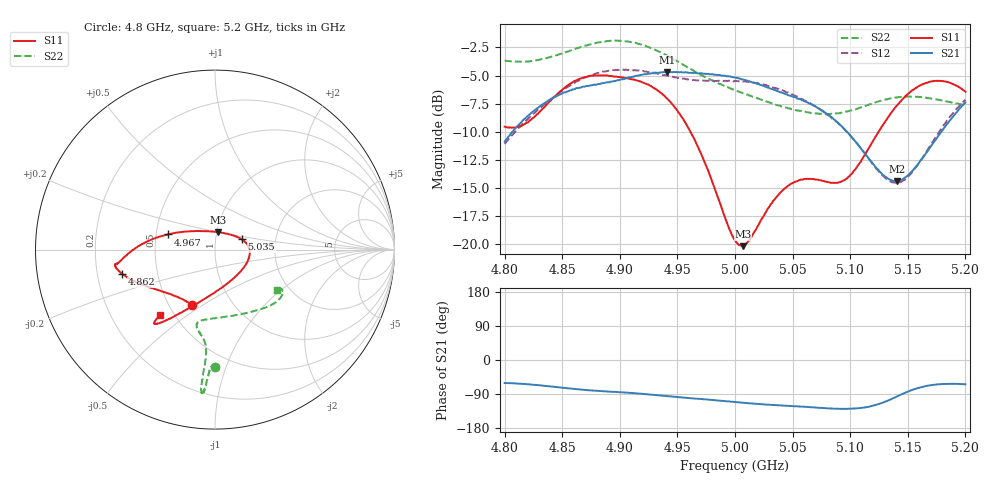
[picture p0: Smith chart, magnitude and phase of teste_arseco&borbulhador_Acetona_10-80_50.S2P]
! Network Analyzer HP8722D
! Hewlett-Packard
! Data name: Linha & Wilkinson
! Saver's name: Rodrigo Anjos
! Comments: Teste da utilização de aquisição
! continua pelo VNA HP8722D
! Time and date: 17/4/2025 14:46
!  Frequency  S11  S21  S12  S22
# HZ  S  MA R 50
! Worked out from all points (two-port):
!   401 points, 4.8 GHz to 5.2 GHz, reference 50 ohm
!   highest |S21| = -4.67 dB at 4.941 GHz (marker M1); lowest = -14.4 dB at 5.141 GHz (marker M2)
!   |S21| within 3 dB of the highest: 4.832 GHz to 5.068 GHz (236.7 MHz wide, 4.78 % of centre); 5.19753 GHz to end of sweep
!   lowest |S11| = -20.2 dB at 5.007 GHz (marker M3), VSWR 1.22, Z = 51 + j9.88 ohm
!   |S11| at or under -10 dB: 4.961 GHz to 5.125 GHz (163.4 MHz wide, 3.24 % of centre)
!   |S22| runs from -8.4 to -1.9 dB; largest |S21 - S12| = 0.88
!   S11 on the Smith chart (normalised r, x): 4.8 GHz: 0.65, -0.45; 4.862 GHz: 0.31, -0.12; 4.967 GHz: 0.58, +0.11; 5.035 GHz: 1.34, +0.16; 5.2 GHz: 0.42, -0.39
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4.8e9  0.3331 -113.1  0.2855 -60.7  0.279 -174.9  0.6559 -89.9
4.819e9  0.3467 -132.9  0.3674 -63.7  0.3553 -173.3  0.6499 -91.4
4.862e9  0.5352 -165.3  0.4939 -76.8  0.5277 -176.6  0.7426 -93.6
4.867e9  0.5481 -167.4  0.5006 -78.3  0.5433 -177.4  0.7559 -93.8
4.9e9  0.5533 -171.8  0.5384 -85.0  0.5944 175.9  0.8031 -95.2
4.934e9  0.4775 -177.8  0.5788 -93.3  0.5734 172.0  0.7184 -95.6
4.941e9  0.4437 179.0  0.5841 -95.1  0.5619 172.0  0.6895 -95.4
4.954e9  0.3661 171.8  0.5811 -98.9  0.5451 172.7  0.6328 -95.0
4.967e9  0.2767 162.2  0.5768 -102.1  0.5349 174.1  0.5782 -95.0
5e9  0.1041 103.4  0.5509 -110.9  0.5332 176.5  0.4839 -99.0
5.007e9  0.09786 78.8  0.5395 -112.8  0.5284 176.1  0.469 -100.6
5.035e9  0.1594 21.1  0.4847 -118.9  0.4953 175.0  0.4179 -103.5
5.05e9  0.1867 5.8  0.4543 -121.8  0.4632 174.3  0.399 -99.7
5.067e9  0.1951 -12.5  0.4167 -124.9  0.4187 173.9  0.3829 -90.8
5.087e9  0.1871 -44.4  0.3555 -128.5  0.355 173.6  0.381 -75.9
5.097e9  0.1954 -65.1  0.3164 -128.9  0.3163 174.4  0.3891 -67.6
5.134e9  0.3733 -115.9  0.1942 -105.5  0.1903 -158.3  0.4438 -43.0
5.141e9  0.4162 -119.9  0.1907 -95.5  0.1874 -147.2  0.45 -39.9
5.153e9  0.4791 -124.8  0.209 -79.9  0.2067 -129.0  0.453 -35.6
5.17e9  0.5291 -128.4  0.2718 -66.4  0.2767 -112.5  0.445 -31.8
5.184e9  0.5269 -129.8  0.3423 -62.9  0.3542 -107.2  0.4311 -30.8
5.2e9  0.4764 -130.2  0.4267 -64.1  0.439 -106.3  0.4146 -33.2
